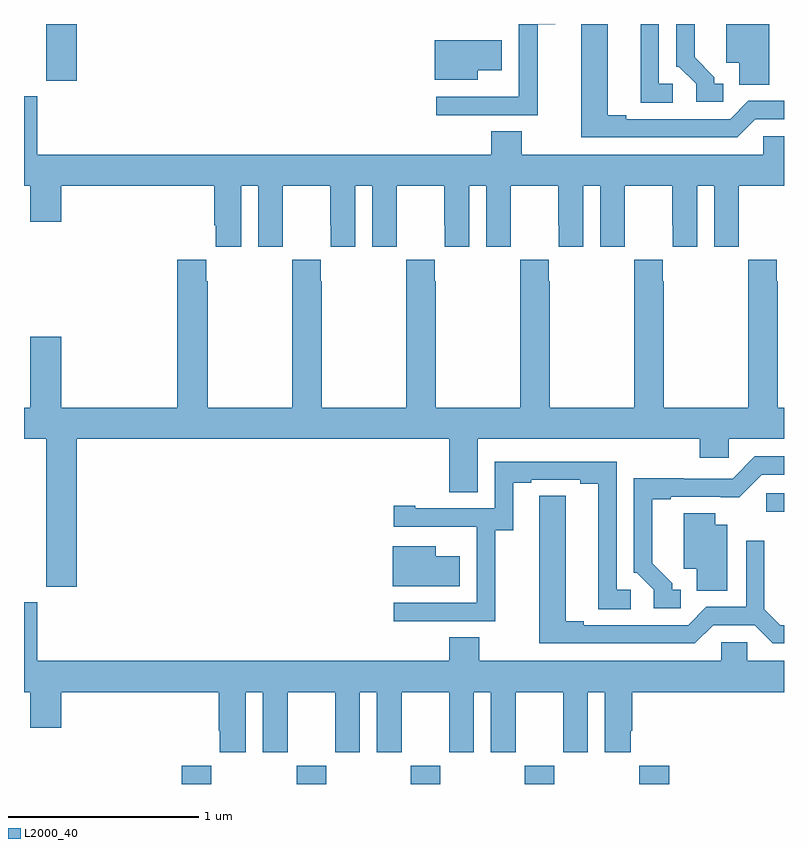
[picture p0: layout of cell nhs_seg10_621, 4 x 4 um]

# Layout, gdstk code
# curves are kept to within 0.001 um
import gdstk
lib = gdstk.Library(unit=1e-6, precision=1e-09)
def R(c, l, rs):  # rectangles x0, y0, x1, y1
    for r in rs: c.add(gdstk.rectangle(r[:2], r[2:], *l))
def A(c, l, x, y, w, h, nx, ny, dx, dy):  # array of equal rectangles
    R(c, l, [(x+i*dx, y+j*dy, x+i*dx+w, y+j*dy+h) for i in range(nx) for j in range(ny)])
def P(c, l, *ps):  # polygons
    for p in ps: c.add(gdstk.Polygon(p, *l))
L2000_40 = (2000, 40)

nhs_seg10_621 = lib.new_cell('nhs_seg10_621')
A(nhs_seg10_621, L2000_40, 142.435, 1298.5, 0.155, 0.096, 3, 1, 0.6, 0)
R(nhs_seg10_621, L2000_40, [(141.83,1298.5,141.985,1298.596), (144.239,1298.5,144.395,1298.596), (144.906,1299.932,145,1300.029), (141.118,1302.201,141.278,1302.5)])
P(nhs_seg10_621, L2000_40, [(144.679,1302.186),(144.634,1302.186),(144.634,1302.221),(144.529,1302.326),(144.529,1302.5),(144.432,1302.5),(144.432,1302.276),(144.447,1302.276),(144.537,1302.186),(144.537,1302.09),(144.679,1302.09)],
  [(144.415,1302.186),(144.342,1302.186),(144.342,1302.5),(144.245,1302.5),(144.245,1302.085),(144.415,1302.085)],
  [(143.703,1302.499),(143.797,1302.499),(143.797,1302.5),(143.604,1302.5),(143.604,1302.118),(143.603,1302.118),(143.603,1302.117),(143.169,1302.117),(143.169,1302.021),(143.703,1302.021)],
  [(144.849,1302),(145,1302),(145,1302.096),(144.813,1302.096),(144.717,1302),(144.169,1302),(144.169,1302.02),(144.073,1302.02),(144.073,1302.5),(143.933,1302.5),(143.933,1301.904),(144.753,1301.904)],
  [(144.922,1302.5),(144.695,1302.5),(144.695,1302.296),(144.764,1302.296),(144.764,1302.181),(144.922,1302.181)],
  [(143.389,1302.257),(143.515,1302.257),(143.515,1302.415),(143.162,1302.415),(143.162,1302.206),(143.389,1302.206)],
  [(143.619,1301.936),(143.459,1301.936),(143.459,1301.812),(141.07,1301.812),(141.07,1302.121),(141,1302.121),(141,1301.648),(141.032,1301.648),(141.032,1301.46),(141.196,1301.46),(141.196,1301.648),(142.001,1301.648),(142.001,1301.44),(142.01,1301.44),(142.01,1301.328),(142.144,1301.328),(142.144,1301.648),(142.232,1301.648),(142.232,1301.328),(142.362,1301.328),(142.362,1301.44),(142.363,1301.44),(142.363,1301.648),(142.613,1301.648),(142.613,1301.44),(142.614,1301.44),(142.614,1301.328),(142.744,1301.328),(142.744,1301.648),(142.832,1301.648),(142.832,1301.328),(142.962,1301.328),(142.962,1301.44),(142.963,1301.44),(142.963,1301.648),(143.213,1301.648),(143.213,1301.44),(143.214,1301.44),(143.214,1301.328),(143.344,1301.328),(143.344,1301.648),(143.432,1301.648),(143.432,1301.328),(143.562,1301.328),(143.562,1301.44),(143.563,1301.44),(143.563,1301.648),(143.813,1301.648),(143.813,1301.44),(143.814,1301.44),(143.814,1301.328),(143.944,1301.328),(143.944,1301.648),(144.032,1301.648),(144.032,1301.328),(144.162,1301.328),(144.162,1301.44),(144.163,1301.44),(144.163,1301.648),(144.413,1301.648),(144.413,1301.44),(144.414,1301.44),(144.414,1301.328),(144.544,1301.328),(144.544,1301.648),(144.632,1301.648),(144.632,1301.328),(144.762,1301.328),(144.762,1301.44),(144.763,1301.44),(144.763,1301.648),(145,1301.648),(145,1301.91),(144.891,1301.91),(144.891,1301.812),(143.619,1301.812)],
  [(141.278,1300.316),(143.237,1300.316),(143.237,1300.036),(143.389,1300.036),(143.389,1300.316),(144.557,1300.316),(144.557,1300.218),(144.708,1300.218),(144.708,1300.316),(145,1300.316),(145,1300.48),(144.966,1300.48),(144.966,1301.147),(144.963,1301.147),(144.963,1301.26),(144.813,1301.26),(144.813,1301.147),(144.811,1301.147),(144.811,1300.48),(144.366,1300.48),(144.366,1301.147),(144.363,1301.147),(144.363,1301.26),(144.213,1301.26),(144.213,1301.147),(144.211,1301.147),(144.211,1300.48),(143.766,1300.48),(143.766,1301.147),(143.763,1301.147),(143.763,1301.26),(143.613,1301.26),(143.613,1301.147),(143.611,1301.147),(143.611,1300.48),(143.166,1300.48),(143.166,1301.147),(143.163,1301.147),(143.163,1301.26),(143.013,1301.26),(143.013,1301.147),(143.011,1301.147),(143.011,1300.48),(142.566,1300.48),(142.566,1301.147),(142.563,1301.147),(142.563,1301.26),(142.413,1301.26),(142.413,1301.147),(142.411,1301.147),(142.411,1300.48),(141.966,1300.48),(141.966,1301.147),(141.959,1301.147),(141.959,1301.26),(141.806,1301.26),(141.806,1300.48),(141.196,1300.48),(141.196,1300.855),(141.032,1300.855),(141.032,1300.48),(141,1300.48),(141,1300.316),(141.118,1300.316),(141.118,1299.537),(141.278,1299.537)],
  [(144.457,1299.522),(144.412,1299.522),(144.412,1299.557),(144.307,1299.662),(144.307,1299.999),(144.403,1299.999),(144.403,1300.011),(144.764,1300.01),(144.882,1300.128),(145,1300.128),(145,1300.224),(144.846,1300.224),(144.729,1300.107),(144.473,1300.107),(144.473,1300.109),(144.21,1300.109),(144.21,1299.612),(144.225,1299.612),(144.315,1299.522),(144.315,1299.426),(144.457,1299.426)],
  [(143.481,1299.835),(143.575,1299.835),(143.575,1300.086),(143.671,1300.086),(143.671,1300.101),(143.927,1300.101),(143.927,1300.081),(144.023,1300.081),(144.023,1299.421),(144.193,1299.421),(144.193,1299.522),(144.12,1299.522),(144.12,1300.197),(143.478,1300.197),(143.478,1299.951),(143.059,1299.951),(143.059,1299.964),(142.947,1299.964),(142.947,1299.855),(143.381,1299.855),(143.381,1299.854),(143.382,1299.854),(143.382,1299.453),(142.947,1299.453),(142.947,1299.357),(143.481,1299.357)],
  [(144.627,1299.336),(144.845,1299.336),(144.941,1299.24),(145,1299.24),(145,1299.336),(144.981,1299.336),(144.897,1299.42),(144.897,1299.781),(144.801,1299.781),(144.801,1299.432),(144.591,1299.432),(144.495,1299.336),(143.947,1299.336),(143.947,1299.356),(143.851,1299.356),(143.851,1300.016),(143.712,1300.016),(143.711,1299.24),(144.531,1299.24)],
  [(144.7,1299.865),(144.637,1299.865),(144.637,1299.926),(144.473,1299.926),(144.473,1299.632),(144.542,1299.632),(144.542,1299.517),(144.7,1299.517)],
  [(143.293,1299.7),(143.167,1299.7),(143.167,1299.751),(142.94,1299.751),(142.94,1299.542),(143.293,1299.542)],
  [(143.397,1299.272),(143.237,1299.272),(143.237,1299.148),(141.07,1299.148),(141.07,1299.457),(141,1299.457),(141,1298.984),(141.032,1298.984),(141.032,1298.796),(141.196,1298.796),(141.196,1298.984),(142.025,1298.984),(142.025,1298.779),(142.031,1298.779),(142.031,1298.667),(142.168,1298.667),(142.168,1298.984),(142.256,1298.984),(142.256,1298.667),(142.387,1298.667),(142.387,1298.984),(142.637,1298.984),(142.637,1298.667),(142.768,1298.667),(142.768,1298.984),(142.856,1298.984),(142.856,1298.667),(142.987,1298.667),(142.987,1298.984),(143.237,1298.984),(143.237,1298.667),(143.368,1298.667),(143.368,1298.984),(143.456,1298.984),(143.456,1298.667),(143.587,1298.667),(143.587,1298.984),(143.837,1298.984),(143.837,1298.667),(143.968,1298.667),(143.968,1298.984),(144.056,1298.984),(144.056,1298.667),(144.193,1298.667),(144.193,1298.779),(144.2,1298.779),(144.2,1298.984),(145,1298.984),(145,1299.148),(144.807,1299.148),(144.807,1299.246),(144.669,1299.246),(144.669,1299.148),(143.397,1299.148)])

lib.write_gds('nhs_seg10_621.gds')
